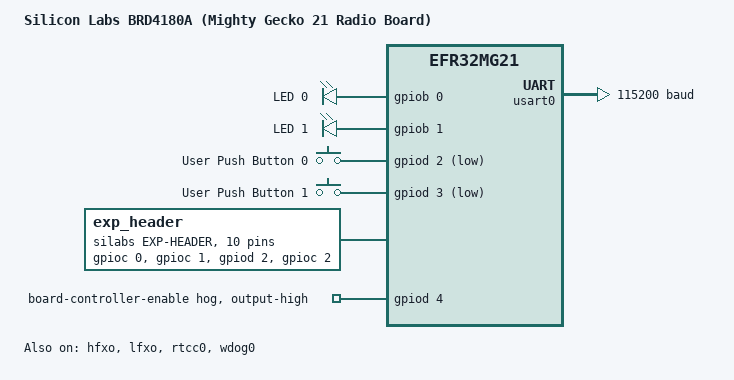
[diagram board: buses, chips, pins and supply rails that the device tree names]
/*
 * Copyright (c) 2020 TriaGnoSys GmbH
 *
 * SPDX-License-Identifier: Apache-2.0
 */

/dts-v1/;
#include <silabs/xg21/efr32mg21a020f1024im32.dtsi>
#include <zephyr/dt-bindings/input/input-event-codes.h>
#include "slwrb4180a-pinctrl.dtsi"

/ {
	model = "Silicon Labs BRD4180A (Mighty Gecko 21 Radio Board)";
	compatible = "silabs,slwrb4180a", "silabs,efr32mg21";

	chosen {
		zephyr,code-partition = &slot0_partition;
		zephyr,console = &usart0;
		zephyr,flash = &flash0;
		zephyr,shell-uart = &usart0;
		zephyr,sram = &sram0;
		zephyr,uart-pipe = &usart0;
	};

	/* These aliases are provided for compatibility with samples */
	aliases {
		led0 = &led0;
		led1 = &led1;
		sw0 = &button0;
		sw1 = &button1;
		watchdog0 = &wdog0;
	};

	leds {
		compatible = "gpio-leds";

		led0: led_0 {
			gpios = <&gpiob 0 0>;
			label = "LED 0";
		};

		led1: led_1 {
			gpios = <&gpiob 1 0>;
			label = "LED 1";
		};
	};

	buttons {
		compatible = "gpio-keys";

		button0: button_0 {
			/* gpio flags need validation */
			gpios = <&gpiod 2 GPIO_ACTIVE_LOW>;
			label = "User Push Button 0";
			zephyr,code = <INPUT_KEY_0>;
		};

		button1: button_1 {
			/* gpio flags need validation */
			gpios = <&gpiod 3 GPIO_ACTIVE_LOW>;
			label = "User Push Button 1";
			zephyr,code = <INPUT_KEY_1>;
		};
	};

	exp_header: exp-header {
		compatible = "silabs,exp-header";
		#gpio-cells = <2>;
		gpio-map = <4 0 &gpioc 0 0>,
			   <6 0 &gpioc 1 0>,
			   <7 0 &gpiod 2 0>,
			   <8 0 &gpioc 2 0>,
			   <9 0 &gpiod 3 0>,
			   <10 0 &gpioc 3 0>,
			   <11 0 &gpiob 0 0>,
			   <12 0 &gpioa 5 0>,
			   <13 0 &gpiob 1 0>,
			   <14 0 &gpioa 6 0>;
		gpio-map-mask = <0xffffffff 0x0>;
		gpio-map-pass-thru = <0x0 GPIO_DT_FLAGS_MASK>;
	};
};

&cpu0 {
	clock-frequency = <76800000>;
};

&hfxo {
	ctune = <129>;
	precision = <50>;
	status = "okay";
};

&lfxo {
	ctune = <79>;
	precision = <50>;
	status = "okay";
};

&hfrcodpll {
	clock-frequency = <DT_FREQ_K(76800)>;
	clocks = <&hfxo>;
	dpll-autorecover;
	dpll-edge = "fall";
	dpll-lock = "phase";
	dpll-m = <1919>;
	dpll-n = <3839>;
};

&em23grpaclk {
	clocks = <&lfxo>;
};

&em4grpaclk {
	clocks = <&lfxo>;
};

&rtccclk {
	clocks = <&lfxo>;
};

&wdog0clk {
	clocks = <&lfxo>;
};

&wdog1clk {
	clocks = <&lfxo>;
};

&usart0 {
	current-speed = <115200>;
	pinctrl-0 = <&usart0_default>;
	pinctrl-names = "default";
	status = "okay";
};

&rtcc0 {
	prescaler = <1>;
	status = "okay";
};

&gpio {
	status = "okay";
};

&gpioa {
	status = "okay";
};

&gpiob {
	status = "okay";
};

&gpioc {
	status = "okay";
};

&gpiod {
	status = "okay";

	board-controller-enable {
		gpio-hog;
		gpios = <4 GPIO_ACTIVE_HIGH>;
		output-high;
	};
};

&wdog0 {
	status = "okay";
};

&flash0 {
	partitions {
		compatible = "fixed-partitions";
		#address-cells = <1>;
		#size-cells = <1>;

		/* Reserve 48 kB for the bootloader */
		boot_partition: partition@0 {
			reg = <0x0 DT_SIZE_K(48)>;
			label = "mcuboot";
			read-only;
		};

		/* Reserve 472 kB for the application in slot 0 */
		slot0_partition: partition@c000 {
			reg = <0x0000c000 DT_SIZE_K(472)>;
			label = "image-0";
		};

		/* Reserve 472 kB for the application in slot 1 */
		slot1_partition: partition@82000 {
			reg = <0x00082000 DT_SIZE_K(472)>;
			label = "image-1";
		};

		/* Set 32Kb of storage at the end of the 1024Kb of flash */
		storage_partition: partition@f8000 {
			reg = <0x000f8000 DT_SIZE_K(32)>;
			label = "storage";
		};
	};
};
